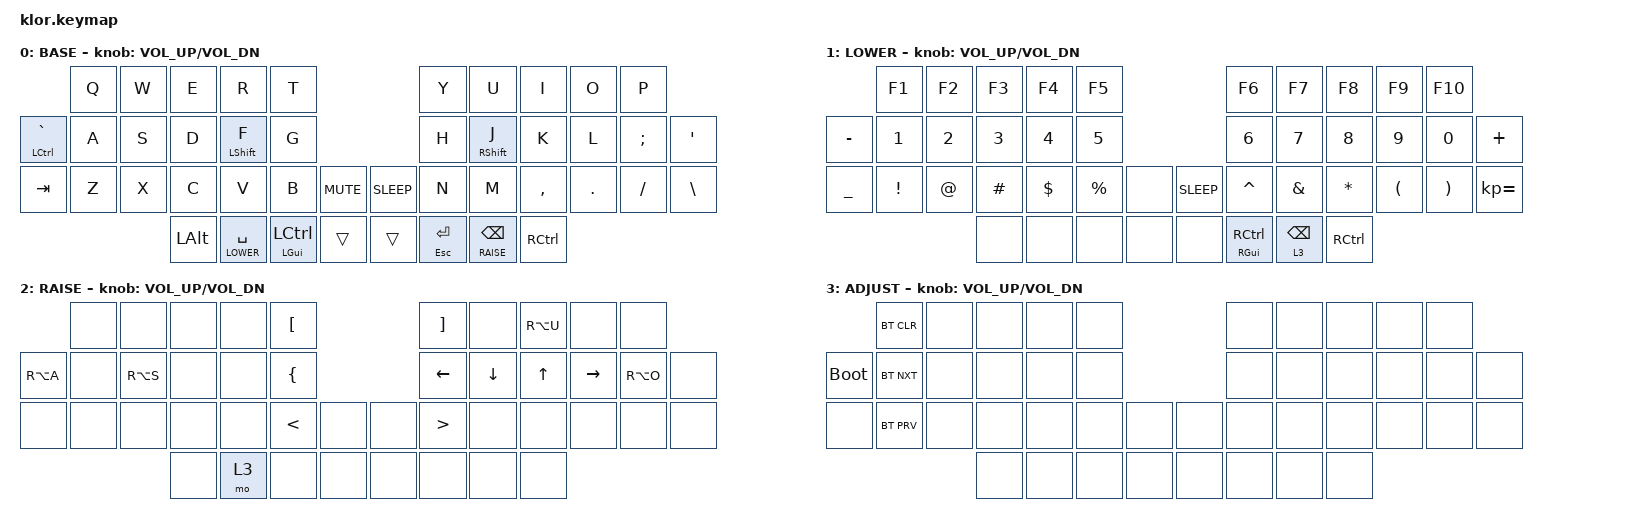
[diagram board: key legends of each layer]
//                               █         █    █            ▄▄▄▀▀▀▀▀▀▄▄▄        █▀▀▀▀▀▀▀▀▀▀█
//                               █        █     █          ▄▀            ▀▄      █          █
//                               █       █      █        ▄▀                ▀▄    █          █
//                               █      █       █        █                  █    █          █
//                               █     █        █       █                    █   █          █
//                               █    █         █       █                    █   █▄▄▄▄▄▄▄▄▄▄█
//                               █   █ █        █       █                    █   █      █
//                               █  █   █       █        █                  █    █       █
//                               █ █     █      █        ▀▄                ▄▀    █        █
//                               ██       █     █          ▀▄            ▄▀      █         █
//                               █         █    █▄▄▄▄▄▄▄▄    ▀▀▀▄▄▄▄▄▄▀▀▀        █          █
//
// ▄▄▄▄▄▄▄▄▄▄▄▄▄▄▄▄▄▄▄▄▄▄▄▄▄▄▄▄▄▄▄▄▄▄▄▄▄▄▄▄▄▄▄▄▄▄▄▄▄▄▄▄▄▄▄▄▄▄▄▄▄▄▄▄▄▄▄▄▄▄▄▄▄▄▄▄▄▄▄▄▄▄▄▄▄▄▄▄▄▄▄▄▄▄▄▄▄▄▄▄▄▄▄▄▄▄▄▄▄▄▄▄▄▄▄▄▄▄▄▄▄▄▄▄▄

#include <behaviors.dtsi>
#include <dt-bindings/zmk/bt.h>
#include <dt-bindings/zmk/keys.h>

#define BASE   0
#define LOWER  1
#define RAISE  2
#define ADJUST 3

/ {
    behaviors {
        hm: homerow_mods {
            compatible = "zmk,behavior-hold-tap";
            label = "HOMEROW_MODS";
            #binding-cells = <2>;
            tapping-term-ms = <150>;
            quick_tap_ms = <0>;
            flavor = "tap-preferred";
            bindings = <&kp>, <&kp>;
        };

        tap_preffered: tap_preffered {
            compatible = "zmk,behavior-hold-tap";
            label = "TAP_PREFFERED";
            bindings = <&kp>, <&kp>;

            #binding-cells = <2>;
            tapping-term-ms = <200>;
            flavor = "tap-preferred";
        };

        mo_backspace: mo_backspace {
            compatible = "zmk,behavior-hold-tap";
            label = "MO_BACKSPACE";
            bindings = <&mo>, <&kp>;

            #binding-cells = <2>;
            quick-tap-ms = <100>;
            tapping-term-ms = <200>;
        };
    };

    combos {
        compatible = "zmk,combos";

        combo_esc {
            timeout-ms = <50>;
            key-positions = <0 1>;
            bindings = <&kp ESC>;
        };

        ukrainian_x {
            bindings = <&kp LEFT_BRACKET>;
            key-positions = <32 33>;
        };

        ukrainian_i {
            bindings = <&kp RIGHT_BRACKET>;
            key-positions = <34 33>;
        };

        language_switch {
            bindings = <&kp LC(SPACE)>;
            key-positions = <38 41>;
            layers = <0>;
        };
    };

    keymap {
        compatible = "zmk,keymap";

        // ▄▄▄▄▄▄▄▄▄▄▄▄▄▄▄▄▄▄▄▄▄▄▄▄▄▄▄▄▄▄▄▄▄▄▄▄▄▄▄▄▄▄▄▄▄▄▄▄▄▄▄▄▄▄▄▄▄▄▄▄▄▄▄▄▄▄▄▄▄▄▄▄▄▄▄▄▄▄▄▄▄▄▄▄▄▄▄▄▄▄▄▄▄▄▄▄▄▄▄▄▄▄▄▄▄▄▄▄▄▄▄▄▄▄▄▄▄▄▄▄▄▄▄▄▄▄▄▄▄▄▄▄▄▄▄▄▄▄▄▄▄▄

        base_layer {
            // ┌───────────────────────────────────────────────────────────┐

            label = "BASE";

            // └───────────────────────────────────────────────────────────┘
            /*           ┌─────────┬─────────┬─────────┬─────────┬─────────┐                    ┌─────────┬─────────┬─────────┬─────────┬─────────┐
             │    Q    │    W    │    F    │    P    │    G    │                    │    J    │    L    │    U    │    Y    │    ;    │   
   ┌─────────┼─────────┼─────────┼─────────┼─────────┼─────────┤                    ├─────────┼─────────┼─────────┼─────────┼─────────┼─────────┐
   │   TAB   │    A    │    R    │    S    │    T    │    D    │                    │    H    │    N    │    E    │    I    │    O    │    "    │
   ├─────────┼─────────┼─────────┼─────────┼─────────┼─────────┤╭────────╮╭────────╮├─────────┼─────────┼─────────┼─────────┼─────────┼─────────┤
   │   DEL   │    Z    │    X    │    C    │    V    │    B    ││  MUTE  ││PLY/PSE ││    K    │    M    │    ,    │    .    │    /    │    \    │
   └─────────┴─────────┴─────────┼─────────┼─────────┼─────────┼╰────────╯╰────────╯┼─────────┼─────────┼─────────┼─────────┴─────────┴─────────┘
                                 │  CTRL   │  LOWER  │  SPACE  │   ALT   ││ CMD/WIN │  ENTER  │  RAISE  │  BSPCE  │  
                                 └─────────┴─────────┴─────────┴─────────┘└─────────┴─────────┴─────────┴─────────┘ */

            bindings = <
                        &kp Q  &kp W  &kp E         &kp R             &kp T                                                          &kp Y             &kp U                          &kp I              &kp O    &kp P
&mt LEFT_CONTROL GRAVE  &kp A  &kp S  &kp D         &hm LEFT_SHIFT F  &kp G                                                          &kp H             &hm RIGHT_SHIFT J              &kp K              &kp L    &kp SEMICOLON  &kp SQT
&kp TAB                 &kp Z  &kp X  &kp C         &kp V             &kp B                                 &kp C_MUTE  &kp K_SLEEP  &kp N             &kp M                          &kp COMMA          &kp DOT  &kp FSLH       &kp BSLH
                                      &kp LEFT_ALT  &lt LOWER SPACE   &tap_preffered LEFT_GUI LEFT_CONTROL  &trans      &trans       &mt ESCAPE ENTER  &mo_backspace RAISE BACKSPACE  &kp RIGHT_CONTROL
            >;

            sensor-bindings = <&inc_dec_kp C_VOL_UP C_VOL_DN>;
        };

        // ▄▄▄▄▄▄▄▄▄▄▄▄▄▄▄▄▄▄▄▄▄▄▄▄▄▄▄▄▄▄▄▄▄▄▄▄▄▄▄▄▄▄▄▄▄▄▄▄▄▄▄▄▄▄▄▄▄▄▄▄▄▄▄▄▄▄▄▄▄▄▄▄▄▄▄▄▄▄▄▄▄▄▄▄▄▄▄▄▄▄▄▄▄▄▄▄▄▄▄▄▄▄▄▄▄▄▄▄▄▄▄▄▄▄▄▄▄▄▄▄▄▄▄▄▄▄▄▄▄▄▄▄▄▄▄▄▄▄▄▄▄▄

        lower_layer {
            // ┌───────────────────────────────────────────────────────────┐

            label = "LOWER";

            // └───────────────────────────────────────────────────────────┘
            /*           ┌─────────┬─────────┬─────────┬─────────┬─────────┐                    ┌─────────┬─────────┬─────────┬─────────┬─────────┐
             │         │         │    UP   │         │    {    │                    │    }    │    7    │    8    │    9    │    +    │
   ┌─────────┼─────────┼─────────┼─────────┼─────────┼─────────┤                    ├─────────┼─────────┼─────────┼─────────┼─────────┼─────────┐
   │         │         │   LEFT  │  DOWN   │  RIGHT  │    [    │                    │    ]    │    4    │    5    │    6    │    -    │         │
   ├─────────┼─────────┼─────────┼─────────┼─────────┼─────────┤╭────────╮╭────────╮├─────────┼─────────┼─────────┼─────────┼─────────┼─────────┤
   │         │         │   P UP  │ C LOCK  │ P DOWN  │    (    ││        ││        ││    )    │    1    │    2    │    3    │    *    │         │
   └─────────┴─────────┴─────────┼─────────┼─────────┼─────────┼╰────────╯╰────────╯┼─────────┼─────────┼─────────┼─────────┴─────────┴─────────┘
                                 │         │         │         │         ││         │         │    0    │         │  
                                 └─────────┴─────────┴─────────┴─────────┘└─────────┴─────────┴─────────┴─────────┘ */

            bindings = <
                &kp F1           &kp F2       &kp F3     &kp F4      &kp F5                           &kp F6                             &kp F7           &kp F8             &kp F9                &kp F10
&kp MINUS       &kp N1           &kp N2       &kp N3     &kp N4      &kp N5                           &kp N6                             &kp N7           &kp N8             &kp N9                &kp N0                 &kp PLUS
&kp UNDERSCORE  &kp EXCLAMATION  &kp AT_SIGN  &kp POUND  &kp DOLLAR  &kp PERCENT  &none  &kp C_SLEEP  &kp CARET                          &kp AMPERSAND    &kp ASTERISK       &kp LEFT_PARENTHESIS  &kp RIGHT_PARENTHESIS  &kp KP_EQUAL
                                              &none      &none       &none        &none  &none        &tap_preffered RGUI RIGHT_CONTROL  &lt 3 BACKSPACE  &kp RIGHT_CONTROL
            >;

            sensor-bindings = <&inc_dec_kp C_VOL_UP C_VOL_DN>;
        };

        // ▄▄▄▄▄▄▄▄▄▄▄▄▄▄▄▄▄▄▄▄▄▄▄▄▄▄▄▄▄▄▄▄▄▄▄▄▄▄▄▄▄▄▄▄▄▄▄▄▄▄▄▄▄▄▄▄▄▄▄▄▄▄▄▄▄▄▄▄▄▄▄▄▄▄▄▄▄▄▄▄▄▄▄▄▄▄▄▄▄▄▄▄▄▄▄▄▄▄▄▄▄▄▄▄▄▄▄▄▄▄▄▄▄▄▄▄▄▄▄▄▄▄▄▄▄

        raise_layer {
            // ┌───────────────────────────────────────────────────────────┐

            label = "RAISE";

            // └───────────────────────────────────────────────────────────┘
            /*           ┌─────────┬─────────┬─────────┬─────────┬─────────┐                    ┌─────────┬─────────┬─────────┬─────────┬─────────┐
             │         │         │         │         │         │                    │         │         │    Ü    │         │         │
   ┌─────────┼─────────┼─────────┼─────────┼─────────┼─────────┤                    ├─────────┼─────────┼─────────┼─────────┼─────────┼─────────┐
   │    Ä    │         │    ß    │         │         │         │                    │         │         │         │         │    Ö    │         │
   ├─────────┼─────────┼─────────┼─────────┼─────────┼─────────┤╭────────╮╭────────╮├─────────┼─────────┼─────────┼─────────┼─────────┼─────────┤
   │         │         │         │         │         │         ││        ││        ││         │         │         │         │         │         │
   └─────────┴─────────┴─────────┼─────────┼─────────┼─────────┼╰────────╯╰────────╯┼─────────┼─────────┼─────────┼─────────┴─────────┴─────────┘
                                 │ ADJUST  │         │         │         ││         │         │         │         │  
                                 └─────────┴─────────┴─────────┴─────────┘└─────────┴─────────┴─────────┴─────────┘ */

            bindings = <
           &none  &none      &none  &none  &kp LEFT_BRACKET                &kp RIGHT_BRACKET  &none     &kp RA(U)     &none      &none
&kp RA(A)  &none  &kp RA(S)  &none  &none  &kp LEFT_BRACE                  &kp LEFT_ARROW     &kp DOWN  &kp UP_ARROW  &kp RIGHT  &kp RA(O)  &none
&none      &none  &none      &none  &none  &kp LESS_THAN     &none  &none  &kp GREATER_THAN   &none     &none         &none      &none      &none
                             &none  &mo 3  &none             &none  &none  &none              &none     &none
            >;

            sensor-bindings = <&inc_dec_kp C_VOL_UP C_VOL_DN>;
        };

        // ▄▄▄▄▄▄▄▄▄▄▄▄▄▄▄▄▄▄▄▄▄▄▄▄▄▄▄▄▄▄▄▄▄▄▄▄▄▄▄▄▄▄▄▄▄▄▄▄▄▄▄▄▄▄▄▄▄▄▄▄▄▄▄▄▄▄▄▄▄▄▄▄▄▄▄▄▄▄▄▄▄▄▄▄▄▄▄▄▄▄▄▄▄▄▄▄▄▄▄▄▄▄▄▄▄▄▄▄▄▄▄▄▄▄▄▄▄▄▄▄▄▄▄▄▄

        adjust_layer {
            // ┌───────────────────────────────────────────────────────────┐

            label = "ADJUST";

            // └───────────────────────────────────────────────────────────┘
            /*           ┌─────────┬─────────┬─────────┬─────────┬─────────┐                    ┌─────────┬─────────┬─────────┬─────────┬─────────┐
             │         │         │         │         │         │                    │         │         │         │         │         │
   ┌─────────┼─────────┼─────────┼─────────┼─────────┼─────────┤                    ├─────────┼─────────┼─────────┼─────────┼─────────┼─────────┐
   │         │         │         │         │         │         │                    │         │         │         │         │         │         │
   ├─────────┼─────────┼─────────┼─────────┼─────────┼─────────┤╭────────╮╭────────╮├─────────┼─────────┼─────────┼─────────┼─────────┼─────────┤
   │         │         │         │         │         │         ││        ││        ││         │         │         │         │         │         │
   └─────────┴─────────┴─────────┼─────────┼─────────┼─────────┼╰────────╯╰────────╯┼─────────┼─────────┼─────────┼─────────┴─────────┴─────────┘
                                 │         │         │         │         ││         │         │         │         │  
                                 └─────────┴─────────┴─────────┴─────────┘└─────────┴─────────┴─────────┴─────────┘ */

            bindings = <
             &bt BT_CLR  &none  &none  &none  &none                &none  &none  &none  &none  &none
&bootloader  &bt BT_NXT  &none  &none  &none  &none                &none  &none  &none  &none  &none  &none
&none        &bt BT_PRV  &none  &none  &none  &none  &none  &none  &none  &none  &none  &none  &none  &none
                                &none  &none  &none  &none  &none  &none  &none  &none
            >;

            sensor-bindings = <&inc_dec_kp C_VOL_UP C_VOL_DN>;
        };
    };
};
